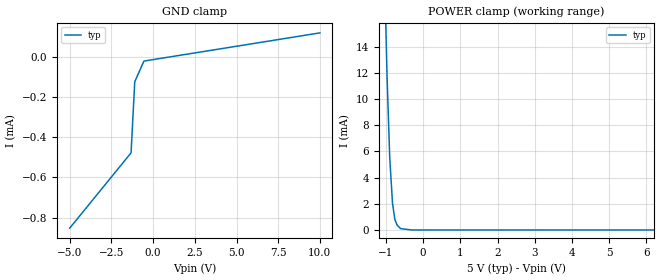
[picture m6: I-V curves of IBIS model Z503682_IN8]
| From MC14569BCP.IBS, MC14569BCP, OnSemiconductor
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| (C) COPYRIGHT 1993-2000
| MENTOR GRAPHICS CORPORATION
| ICX STANDARD LIBRARY, ICX PROJECT MODELING,
| ICX CUSTOM MODELING, ICX VENDOR MODEL
| ALL RIGHTS RESERVED.
| THE FOLLOWING ARE TRADEMARKS OR SERVICE MARKS OF
| MENTOR GRAPHICS CORPORATION:ICX (R), ICX STANDARD
| LIBRARY(R), ICX PROJECT MODELING(R), ICX CUSTOM
| MODELING(R), qualityIBIS(TM), MODELVIEWER(TM),
| AND MODELEDITOR(TM)
| ALL COPIES OF SOFTWARE, INCLUDING BUT NOT LIMITED TO
| ANY MODIFICATIONS, ENHANCEMENTS OR DERIVATIVE WORKS,
| MUST CONTAIN ALL MENTOR GRAPHICS CORPORATION'S
| NOTICES AND LEGENDS, INCLUDING THOSE EMBEDDED IN
| SOFTWARE AND THOSE AFFIXED TO SOFTWARE MEDIUM
| AND CONTAINER, AS RECEIVED FROM MENTOR GRAPHICS
| CORPORATION.
| Model Application Version 1.89 2/18/99.
[Model] Z503682_IN8
Model_type Input
Vinl = 1.500V
Vinh = 3.500V
C_comp 5.000pF NA NA
| variable typ   min   max
[Voltage Range] 5.000V NA NA
[GND Clamp Reference] 0.000V NA NA
[POWER Clamp Reference] 5.000V NA NA
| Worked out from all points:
|   POWER clamp passes 1 mA (typ) near -0.77 V on its own axis
[GND Clamp]
-5V       -852.3uA   NA         NA
-1.321V   -477.9uA   NA         NA
-1.1V     -124.4uA   NA         NA
-550mV    -21.78uA   NA         NA
10V       118.3uA    NA         NA
[POWER Clamp]
-5V       831.9mA    NA         NA
-1.199V   45.66mA    NA         NA
-1.027V   18.31mA    NA         NA
-971mV    11.68mA    NA         NA
-899mV    5.523mA    NA         NA
-824mV    2.02mA     NA         NA
-762mV    811.7uA    NA         NA
-704mV    383.1uA    NA         NA
-606mV    101.3uA    NA         NA
-303mV    0A         NA         NA
10V       0A         NA         NA
